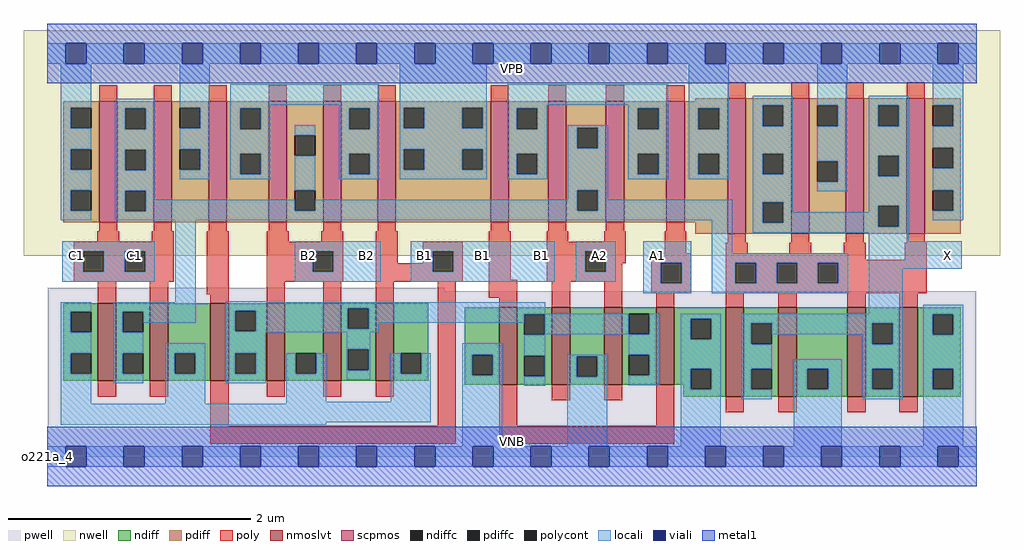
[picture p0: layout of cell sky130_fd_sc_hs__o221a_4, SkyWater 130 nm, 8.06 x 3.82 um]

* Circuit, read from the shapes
.subckt sky130_fd_sc_hs__o221a_4 A1 A2 B1 B2 C1 VGND VNB VPB VPWR X
XM1 n1 C1 n2 VNB sky130_fd_pr__nfet_01v8_lvt w=0.64 l=0.15 m=2
XM2 n3 B1 n2 VNB sky130_fd_pr__nfet_01v8_lvt w=0.64 l=0.15 m=2
XM3 n2 B2 n3 VNB sky130_fd_pr__nfet_01v8_lvt w=0.64 l=0.15 m=2
XM4 n3 A1 VGND VNB sky130_fd_pr__nfet_01v8_lvt w=0.64 l=0.15 m=2
XM5 VGND A2 n3 VNB sky130_fd_pr__nfet_01v8_lvt w=0.64 l=0.15 m=2
XM6 X n1 VGND VNB sky130_fd_pr__nfet_01v8_lvt w=0.74 l=0.15 m=4
XM7 n1 C1 VPWR VPB sky130_fd_pr__pfet_01v8 w=1 l=0.15 m=2
XM8 n4 B1 VPWR VPB sky130_fd_pr__pfet_01v8 w=1 l=0.15 m=2
XM9 n1 B2 n4 VPB sky130_fd_pr__pfet_01v8 w=1 l=0.15 m=2
XM10 n5 A1 VPWR VPB sky130_fd_pr__pfet_01v8 w=1 l=0.15 m=2
XM11 n1 A2 n5 VPB sky130_fd_pr__pfet_01v8 w=1 l=0.15 m=2
XM12 X n1 VPWR VPB sky130_fd_pr__pfet_01v8 w=1.12 l=0.15 m=4
.ends

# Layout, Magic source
magic
tech sky130A
magscale 1 2
<< nwell >>
rect -38 332 1574 704
<< pwell >>
rect 1 273 656 279
rect 1 49 1535 273
rect 0 0 1536 49
<< scpmos >>
rect 86 387 116 587
rect 176 387 206 587
rect 267 387 297 587
rect 366 387 396 587
rect 456 387 486 587
rect 546 387 576 587
rect 733 387 763 587
rect 828 387 858 587
rect 923 387 953 587
rect 1023 387 1053 587
rect 1124 368 1154 592
rect 1229 368 1259 592
rect 1319 368 1349 592
rect 1420 368 1450 592
<< nmoslvt >>
rect 84 125 114 253
rect 170 125 200 253
rect 270 125 300 253
rect 363 125 393 253
rect 456 125 486 253
rect 543 125 573 253
rect 747 119 777 247
rect 834 119 864 247
rect 920 119 950 247
rect 1006 119 1036 247
rect 1121 99 1151 247
rect 1208 99 1238 247
rect 1322 99 1352 247
rect 1408 99 1438 247
<< ndiff >>
rect 27 239 84 253
rect 27 205 39 239
rect 73 205 84 239
rect 27 171 84 205
rect 27 137 39 171
rect 73 137 84 171
rect 27 125 84 137
rect 114 239 170 253
rect 114 205 125 239
rect 159 205 170 239
rect 114 171 170 205
rect 114 137 125 171
rect 159 137 170 171
rect 114 125 170 137
rect 200 171 270 253
rect 200 137 211 171
rect 245 137 270 171
rect 200 125 270 137
rect 300 241 363 253
rect 300 207 311 241
rect 345 207 363 241
rect 300 171 363 207
rect 300 137 311 171
rect 345 137 363 171
rect 300 125 363 137
rect 393 171 456 253
rect 393 137 411 171
rect 445 137 456 171
rect 393 125 456 137
rect 486 245 543 253
rect 486 211 497 245
rect 531 211 543 245
rect 486 177 543 211
rect 486 143 497 177
rect 531 143 543 177
rect 486 125 543 143
rect 573 171 630 253
rect 573 137 584 171
rect 618 137 630 171
rect 573 125 630 137
rect 690 168 747 247
rect 690 134 702 168
rect 736 134 747 168
rect 690 119 747 134
rect 777 235 834 247
rect 777 201 788 235
rect 822 201 834 235
rect 777 167 834 201
rect 777 133 788 167
rect 822 133 834 167
rect 777 119 834 133
rect 864 166 920 247
rect 864 132 875 166
rect 909 132 920 166
rect 864 119 920 132
rect 950 236 1006 247
rect 950 202 961 236
rect 995 202 1006 236
rect 950 168 1006 202
rect 950 134 961 168
rect 995 134 1006 168
rect 950 119 1006 134
rect 1036 228 1121 247
rect 1036 194 1063 228
rect 1097 194 1121 228
rect 1036 145 1121 194
rect 1036 119 1063 145
rect 1051 111 1063 119
rect 1097 111 1121 145
rect 1051 99 1121 111
rect 1151 220 1208 247
rect 1151 186 1163 220
rect 1197 186 1208 220
rect 1151 145 1208 186
rect 1151 111 1163 145
rect 1197 111 1208 145
rect 1151 99 1208 111
rect 1238 145 1322 247
rect 1238 111 1256 145
rect 1290 111 1322 145
rect 1238 99 1322 111
rect 1352 220 1408 247
rect 1352 186 1363 220
rect 1397 186 1408 220
rect 1352 145 1408 186
rect 1352 111 1363 145
rect 1397 111 1408 145
rect 1352 99 1408 111
rect 1438 235 1509 247
rect 1438 201 1463 235
rect 1497 201 1509 235
rect 1438 145 1509 201
rect 1438 111 1463 145
rect 1497 111 1509 145
rect 1438 99 1509 111
<< pdiff >>
rect 1071 587 1124 592
rect 27 576 86 587
rect 27 542 39 576
rect 73 542 86 576
rect 27 508 86 542
rect 27 474 39 508
rect 73 474 86 508
rect 27 440 86 474
rect 27 406 39 440
rect 73 406 86 440
rect 27 387 86 406
rect 116 575 176 587
rect 116 541 129 575
rect 163 541 176 575
rect 116 507 176 541
rect 116 473 129 507
rect 163 473 176 507
rect 116 439 176 473
rect 116 405 129 439
rect 163 405 176 439
rect 116 387 176 405
rect 206 576 267 587
rect 206 542 219 576
rect 253 542 267 576
rect 206 508 267 542
rect 206 474 219 508
rect 253 474 267 508
rect 206 387 267 474
rect 297 575 366 587
rect 297 541 319 575
rect 353 541 366 575
rect 297 500 366 541
rect 297 466 319 500
rect 353 466 366 500
rect 297 387 366 466
rect 396 531 456 587
rect 396 497 409 531
rect 443 497 456 531
rect 396 440 456 497
rect 396 406 409 440
rect 443 406 456 440
rect 396 387 456 406
rect 486 575 546 587
rect 486 541 499 575
rect 533 541 546 575
rect 486 500 546 541
rect 486 466 499 500
rect 533 466 546 500
rect 486 387 546 466
rect 576 576 733 587
rect 576 542 589 576
rect 623 542 686 576
rect 720 542 733 576
rect 576 508 733 542
rect 576 474 589 508
rect 623 474 686 508
rect 720 474 733 508
rect 576 387 733 474
rect 763 575 828 587
rect 763 541 776 575
rect 810 541 828 575
rect 763 500 828 541
rect 763 466 776 500
rect 810 466 828 500
rect 763 387 828 466
rect 858 543 923 587
rect 858 509 876 543
rect 910 509 923 543
rect 858 440 923 509
rect 858 406 876 440
rect 910 406 923 440
rect 858 387 923 406
rect 953 575 1023 587
rect 953 541 976 575
rect 1010 541 1023 575
rect 953 500 1023 541
rect 953 466 976 500
rect 1010 466 1023 500
rect 953 387 1023 466
rect 1053 575 1124 587
rect 1053 541 1076 575
rect 1110 541 1124 575
rect 1053 500 1124 541
rect 1053 466 1076 500
rect 1110 466 1124 500
rect 1053 387 1124 466
rect 1071 368 1124 387
rect 1154 580 1229 592
rect 1154 546 1182 580
rect 1216 546 1229 580
rect 1154 500 1229 546
rect 1154 466 1182 500
rect 1216 466 1229 500
rect 1154 420 1229 466
rect 1154 386 1182 420
rect 1216 386 1229 420
rect 1154 368 1229 386
rect 1259 580 1319 592
rect 1259 546 1272 580
rect 1306 546 1319 580
rect 1259 488 1319 546
rect 1259 454 1272 488
rect 1306 454 1319 488
rect 1259 368 1319 454
rect 1349 580 1420 592
rect 1349 546 1373 580
rect 1407 546 1420 580
rect 1349 497 1420 546
rect 1349 463 1373 497
rect 1407 463 1420 497
rect 1349 414 1420 463
rect 1349 380 1373 414
rect 1407 380 1420 414
rect 1349 368 1420 380
rect 1450 580 1509 592
rect 1450 546 1463 580
rect 1497 546 1509 580
rect 1450 510 1509 546
rect 1450 476 1463 510
rect 1497 476 1509 510
rect 1450 440 1509 476
rect 1450 406 1463 440
rect 1497 406 1509 440
rect 1450 368 1509 406
<< ndiffc >>
rect 39 205 73 239
rect 39 137 73 171
rect 125 205 159 239
rect 125 137 159 171
rect 211 137 245 171
rect 311 207 345 241
rect 311 137 345 171
rect 411 137 445 171
rect 497 211 531 245
rect 497 143 531 177
rect 584 137 618 171
rect 702 134 736 168
rect 788 201 822 235
rect 788 133 822 167
rect 875 132 909 166
rect 961 202 995 236
rect 961 134 995 168
rect 1063 194 1097 228
rect 1063 111 1097 145
rect 1163 186 1197 220
rect 1163 111 1197 145
rect 1256 111 1290 145
rect 1363 186 1397 220
rect 1363 111 1397 145
rect 1463 201 1497 235
rect 1463 111 1497 145
<< pdiffc >>
rect 39 542 73 576
rect 39 474 73 508
rect 39 406 73 440
rect 129 541 163 575
rect 129 473 163 507
rect 129 405 163 439
rect 219 542 253 576
rect 219 474 253 508
rect 319 541 353 575
rect 319 466 353 500
rect 409 497 443 531
rect 409 406 443 440
rect 499 541 533 575
rect 499 466 533 500
rect 589 542 623 576
rect 686 542 720 576
rect 589 474 623 508
rect 686 474 720 508
rect 776 541 810 575
rect 776 466 810 500
rect 876 509 910 543
rect 876 406 910 440
rect 976 541 1010 575
rect 976 466 1010 500
rect 1076 541 1110 575
rect 1076 466 1110 500
rect 1182 546 1216 580
rect 1182 466 1216 500
rect 1182 386 1216 420
rect 1272 546 1306 580
rect 1272 454 1306 488
rect 1373 546 1407 580
rect 1373 463 1407 497
rect 1373 380 1407 414
rect 1463 546 1497 580
rect 1463 476 1497 510
rect 1463 406 1497 440
<< poly >>
rect 86 587 116 613
rect 176 587 206 613
rect 267 587 297 613
rect 366 587 396 613
rect 456 587 486 613
rect 546 587 576 613
rect 733 587 763 613
rect 828 587 858 613
rect 923 587 953 613
rect 1023 587 1053 613
rect 1124 592 1154 618
rect 1229 592 1259 618
rect 1319 592 1349 618
rect 1420 592 1450 618
rect 86 372 116 387
rect 176 372 206 387
rect 267 372 297 387
rect 366 372 396 387
rect 456 372 486 387
rect 546 372 576 387
rect 733 372 763 387
rect 828 372 858 387
rect 923 372 953 387
rect 1023 372 1053 387
rect 83 355 119 372
rect 173 355 209 372
rect 44 339 209 355
rect 44 305 60 339
rect 94 305 128 339
rect 162 305 209 339
rect 44 289 209 305
rect 84 253 114 289
rect 170 253 200 289
rect 264 268 300 372
rect 270 253 300 268
rect 363 355 399 372
rect 453 355 489 372
rect 363 339 489 355
rect 363 305 439 339
rect 473 305 489 339
rect 363 289 489 305
rect 543 319 579 372
rect 621 339 687 355
rect 621 319 637 339
rect 543 305 637 319
rect 671 305 687 339
rect 543 289 687 305
rect 730 292 766 372
rect 825 355 861 372
rect 920 355 956 372
rect 825 339 956 355
rect 825 305 889 339
rect 923 319 956 339
rect 1020 336 1056 372
rect 1124 353 1154 368
rect 1229 353 1259 368
rect 1319 353 1349 368
rect 1420 353 1450 368
rect 1121 336 1157 353
rect 1226 336 1262 353
rect 1316 336 1352 353
rect 998 320 1064 336
rect 923 305 950 319
rect 363 253 393 289
rect 456 253 486 289
rect 543 253 573 289
rect 84 99 114 125
rect 170 99 200 125
rect 270 51 300 125
rect 363 99 393 125
rect 456 99 486 125
rect 543 99 573 125
rect 645 51 675 289
rect 730 262 777 292
rect 825 289 950 305
rect 747 247 777 262
rect 834 247 864 289
rect 920 247 950 289
rect 998 286 1014 320
rect 1048 286 1064 320
rect 998 270 1064 286
rect 1121 325 1352 336
rect 1417 325 1453 353
rect 1121 320 1453 325
rect 1121 286 1137 320
rect 1171 286 1205 320
rect 1239 286 1273 320
rect 1307 286 1453 320
rect 1121 270 1453 286
rect 1006 247 1036 270
rect 1121 247 1151 270
rect 1208 247 1238 270
rect 1322 247 1352 270
rect 1408 247 1438 270
rect 270 21 675 51
rect 747 51 777 119
rect 834 93 864 119
rect 920 93 950 119
rect 1006 51 1036 119
rect 1121 73 1151 99
rect 1208 73 1238 99
rect 1322 73 1352 99
rect 1408 73 1438 99
rect 747 21 1036 51
<< polycont >>
rect 60 305 94 339
rect 128 305 162 339
rect 439 305 473 339
rect 637 305 671 339
rect 889 305 923 339
rect 1014 286 1048 320
rect 1137 286 1171 320
rect 1205 286 1239 320
rect 1273 286 1307 320
<< locali >>
rect 0 649 31 683
rect 65 649 127 683
rect 161 649 223 683
rect 257 649 319 683
rect 353 649 415 683
rect 449 649 511 683
rect 545 649 607 683
rect 641 649 703 683
rect 737 649 799 683
rect 833 649 895 683
rect 929 649 991 683
rect 1025 649 1087 683
rect 1121 649 1183 683
rect 1217 649 1279 683
rect 1313 649 1375 683
rect 1409 649 1471 683
rect 1505 649 1536 683
rect 23 576 73 649
rect 23 542 39 576
rect 23 508 73 542
rect 23 474 39 508
rect 23 440 73 474
rect 23 406 39 440
rect 23 390 73 406
rect 113 575 179 591
rect 113 541 129 575
rect 163 541 179 575
rect 113 507 179 541
rect 113 473 129 507
rect 163 473 179 507
rect 113 439 179 473
rect 219 576 269 649
rect 253 542 269 576
rect 219 508 269 542
rect 253 474 269 508
rect 219 458 269 474
rect 303 581 549 615
rect 303 575 369 581
rect 303 541 319 575
rect 353 541 369 575
rect 483 575 549 581
rect 303 500 369 541
rect 303 466 319 500
rect 353 466 369 500
rect 303 458 369 466
rect 409 531 443 547
rect 113 405 129 439
rect 163 424 179 439
rect 409 440 443 497
rect 483 541 499 575
rect 533 541 549 575
rect 483 500 549 541
rect 483 466 499 500
rect 533 466 549 500
rect 483 458 549 466
rect 583 576 726 649
rect 583 542 589 576
rect 623 542 686 576
rect 720 542 726 576
rect 583 508 726 542
rect 583 474 589 508
rect 623 474 686 508
rect 720 474 726 508
rect 583 458 726 474
rect 760 581 1026 615
rect 760 575 826 581
rect 760 541 776 575
rect 810 541 826 575
rect 960 575 1026 581
rect 760 500 826 541
rect 760 466 776 500
rect 810 466 826 500
rect 760 458 826 466
rect 860 543 926 547
rect 860 509 876 543
rect 910 509 926 543
rect 163 406 409 424
rect 860 440 926 509
rect 960 541 976 575
rect 1010 541 1026 575
rect 960 500 1026 541
rect 960 466 976 500
rect 1010 466 1026 500
rect 960 458 1026 466
rect 1060 575 1126 649
rect 1060 541 1076 575
rect 1110 541 1126 575
rect 1060 500 1126 541
rect 1060 466 1076 500
rect 1110 466 1126 500
rect 1060 458 1126 466
rect 1166 580 1232 596
rect 1166 546 1182 580
rect 1216 546 1232 580
rect 1166 500 1232 546
rect 1166 466 1182 500
rect 1216 466 1232 500
rect 860 424 876 440
rect 443 406 876 424
rect 910 424 926 440
rect 910 406 1132 424
rect 163 405 1132 406
rect 113 390 1132 405
rect 25 339 178 356
rect 25 305 60 339
rect 94 305 128 339
rect 162 305 178 339
rect 25 289 178 305
rect 212 255 246 390
rect 409 339 551 356
rect 409 305 439 339
rect 473 305 551 339
rect 409 289 551 305
rect 601 339 839 356
rect 601 305 637 339
rect 671 305 839 339
rect 601 289 839 305
rect 873 339 939 356
rect 873 305 889 339
rect 923 305 939 339
rect 873 289 939 305
rect 985 320 1064 356
rect 985 286 1014 320
rect 1048 286 1064 320
rect 985 270 1064 286
rect 1098 336 1132 390
rect 1166 420 1232 466
rect 1272 580 1322 649
rect 1306 546 1322 580
rect 1272 488 1322 546
rect 1306 454 1322 488
rect 1272 438 1322 454
rect 1357 580 1423 596
rect 1357 546 1373 580
rect 1407 546 1423 580
rect 1357 497 1423 546
rect 1357 463 1373 497
rect 1407 463 1423 497
rect 1166 386 1182 420
rect 1216 404 1232 420
rect 1357 414 1423 463
rect 1357 404 1373 414
rect 1216 386 1373 404
rect 1166 380 1373 386
rect 1407 380 1423 414
rect 1463 580 1513 649
rect 1497 546 1513 580
rect 1463 510 1513 546
rect 1497 476 1513 510
rect 1463 440 1513 476
rect 1497 406 1513 440
rect 1463 390 1513 406
rect 1166 370 1423 380
rect 1357 356 1423 370
rect 1098 320 1323 336
rect 1098 286 1137 320
rect 1171 286 1205 320
rect 1239 286 1273 320
rect 1307 286 1323 320
rect 1098 270 1323 286
rect 1357 310 1511 356
rect 23 239 73 255
rect 23 205 39 239
rect 23 171 73 205
rect 23 137 39 171
rect 23 87 73 137
rect 109 239 246 255
rect 109 205 125 239
rect 159 221 246 239
rect 295 255 361 257
rect 295 245 823 255
rect 295 241 497 245
rect 109 171 159 205
rect 295 207 311 241
rect 345 211 497 241
rect 531 236 823 245
rect 1357 236 1413 310
rect 531 235 961 236
rect 531 221 788 235
rect 531 211 548 221
rect 345 207 548 211
rect 295 205 548 207
rect 109 137 125 171
rect 109 121 159 137
rect 195 171 261 187
rect 195 137 211 171
rect 245 137 261 171
rect 195 87 261 137
rect 295 171 361 205
rect 495 177 534 205
rect 822 202 961 235
rect 995 202 1011 236
rect 822 201 823 202
rect 295 137 311 171
rect 345 137 361 171
rect 295 121 361 137
rect 395 137 411 171
rect 445 137 461 171
rect 395 91 461 137
rect 495 143 497 177
rect 531 143 534 177
rect 495 127 534 143
rect 568 137 584 171
rect 618 137 634 171
rect 568 91 634 137
rect 395 87 634 91
rect 23 57 634 87
rect 686 168 752 187
rect 686 134 702 168
rect 736 134 752 168
rect 23 53 461 57
rect 686 17 752 134
rect 788 167 823 201
rect 961 168 1011 202
rect 822 133 823 167
rect 788 117 823 133
rect 859 166 925 168
rect 859 132 875 166
rect 909 132 925 166
rect 859 17 925 132
rect 995 134 1011 168
rect 961 118 1011 134
rect 1047 228 1113 236
rect 1047 194 1063 228
rect 1097 194 1113 228
rect 1047 145 1113 194
rect 1047 111 1063 145
rect 1097 111 1113 145
rect 1047 17 1113 111
rect 1147 220 1413 236
rect 1147 186 1163 220
rect 1197 202 1363 220
rect 1147 145 1197 186
rect 1347 186 1363 202
rect 1397 186 1413 220
rect 1147 111 1163 145
rect 1147 95 1197 111
rect 1233 145 1313 161
rect 1233 111 1256 145
rect 1290 111 1313 145
rect 1233 17 1313 111
rect 1347 145 1413 186
rect 1347 111 1363 145
rect 1397 111 1413 145
rect 1347 95 1413 111
rect 1447 235 1513 251
rect 1447 201 1463 235
rect 1497 201 1513 235
rect 1447 145 1513 201
rect 1447 111 1463 145
rect 1497 111 1513 145
rect 1447 17 1513 111
rect 0 -17 31 17
rect 65 -17 127 17
rect 161 -17 223 17
rect 257 -17 319 17
rect 353 -17 415 17
rect 449 -17 511 17
rect 545 -17 607 17
rect 641 -17 703 17
rect 737 -17 799 17
rect 833 -17 895 17
rect 929 -17 991 17
rect 1025 -17 1087 17
rect 1121 -17 1183 17
rect 1217 -17 1279 17
rect 1313 -17 1375 17
rect 1409 -17 1471 17
rect 1505 -17 1536 17
<< viali >>
rect 31 649 65 683
rect 127 649 161 683
rect 223 649 257 683
rect 319 649 353 683
rect 415 649 449 683
rect 511 649 545 683
rect 607 649 641 683
rect 703 649 737 683
rect 799 649 833 683
rect 895 649 929 683
rect 991 649 1025 683
rect 1087 649 1121 683
rect 1183 649 1217 683
rect 1279 649 1313 683
rect 1375 649 1409 683
rect 1471 649 1505 683
rect 31 -17 65 17
rect 127 -17 161 17
rect 223 -17 257 17
rect 319 -17 353 17
rect 415 -17 449 17
rect 511 -17 545 17
rect 607 -17 641 17
rect 703 -17 737 17
rect 799 -17 833 17
rect 895 -17 929 17
rect 991 -17 1025 17
rect 1087 -17 1121 17
rect 1183 -17 1217 17
rect 1279 -17 1313 17
rect 1375 -17 1409 17
rect 1471 -17 1505 17
<< metal1 >>
rect 0 683 1536 715
rect 0 649 31 683
rect 65 649 127 683
rect 161 649 223 683
rect 257 649 319 683
rect 353 649 415 683
rect 449 649 511 683
rect 545 649 607 683
rect 641 649 703 683
rect 737 649 799 683
rect 833 649 895 683
rect 929 649 991 683
rect 1025 649 1087 683
rect 1121 649 1183 683
rect 1217 649 1279 683
rect 1313 649 1375 683
rect 1409 649 1471 683
rect 1505 649 1536 683
rect 0 617 1536 649
rect 0 17 1536 49
rect 0 -17 31 17
rect 65 -17 127 17
rect 161 -17 223 17
rect 257 -17 319 17
rect 353 -17 415 17
rect 449 -17 511 17
rect 545 -17 607 17
rect 641 -17 703 17
rect 737 -17 799 17
rect 833 -17 895 17
rect 929 -17 991 17
rect 1025 -17 1087 17
rect 1121 -17 1183 17
rect 1217 -17 1279 17
rect 1313 -17 1375 17
rect 1409 -17 1471 17
rect 1505 -17 1536 17
rect 0 -49 1536 -17
<< labels >>
rlabel comment s 0 0 0 0 4 o221a_4
flabel pwell s 0 0 1536 49 0 FreeSans 200 0 0 0 VNB
port 7 nsew ground bidirectional
flabel nwell s 0 617 1536 666 0 FreeSans 200 0 0 0 VPB
port 8 nsew power bidirectional
flabel metal1 s 0 617 1536 666 0 FreeSans 340 0 0 0 VPWR
port 9 nsew power bidirectional
flabel metal1 s 0 0 1536 49 0 FreeSans 340 0 0 0 VGND
port 6 nsew ground bidirectional
flabel locali s 1471 316 1505 350 0 FreeSans 340 0 0 0 X
port 10 nsew signal output
flabel locali s 991 316 1025 350 0 FreeSans 340 0 0 0 A1
port 1 nsew signal input
flabel locali s 895 316 929 350 0 FreeSans 340 0 0 0 A2
port 2 nsew signal input
flabel locali s 607 316 641 350 0 FreeSans 340 0 0 0 B1
port 3 nsew signal input
flabel locali s 703 316 737 350 0 FreeSans 340 0 0 0 B1
port 3 nsew signal input
flabel locali s 799 316 833 350 0 FreeSans 340 0 0 0 B1
port 3 nsew signal input
flabel locali s 415 316 449 350 0 FreeSans 340 0 0 0 B2
port 4 nsew signal input
flabel locali s 511 316 545 350 0 FreeSans 340 0 0 0 B2
port 4 nsew signal input
flabel locali s 31 316 65 350 0 FreeSans 340 0 0 0 C1
port 5 nsew signal input
flabel locali s 127 316 161 350 0 FreeSans 340 0 0 0 C1
port 5 nsew signal input
<< properties >>
string LEFsite unit
string LEFclass CORE
string FIXED_BBOX 0 0 1536 666
string GDS_FILE $PDKPATH/libs.ref/sky130_fd_sc_hs/gds/sky130_fd_sc_hs.gds
string LEFsymmetry X Y
string GDS_END 2894052
string GDS_START 2881002
<< end >>
